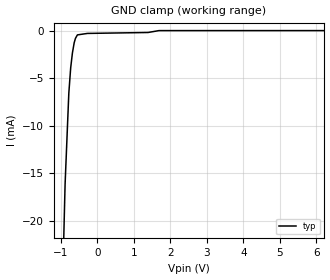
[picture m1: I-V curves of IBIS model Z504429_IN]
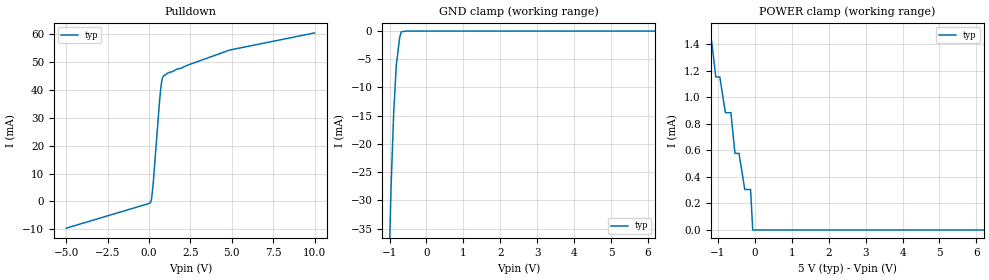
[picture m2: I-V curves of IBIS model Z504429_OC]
| YOU ARE ONLY AUTHORIZED TO USE THIS SOFTWARE
| ACCORDING TO LICENSOR'S LICENSE RESTRICTIONS.
[IBIS Ver] 3.1
[File Name] sn54ls26j.ibs
[File Rev] 2.0
[Source] Measured and created by ICX Technology
[Date] Friday 7/14/00 9:08:14 AM
[Copyright]
| (C) COPYRIGHT 1993-2000
| MENTOR GRAPHICS CORPORATION
| ICX STANDARD LIBRARY, ICX PROJECT MODELING,
| ICX CUSTOM MODELING, ICX VENDOR MODEL
| ALL RIGHTS RESERVED.
| THE FOLLOWING ARE TRADEMARKS OR SERVICE MARKS OF
| MENTOR GRAPHICS CORPORATION:ICX (R), ICX STANDARD
| LIBRARY(R), ICX PROJECT MODELING(R), ICX CUSTOM
| MODELING(R), qualityIBIS(TM), MODELVIEWER(TM),
| AND MODELEDITOR(TM)
| ALL COPIES OF SOFTWARE, INCLUDING BUT NOT LIMITED TO
| ANY MODIFICATIONS, ENHANCEMENTS OR DERIVATIVE WORKS,
| MUST CONTAIN ALL MENTOR GRAPHICS CORPORATION'S
| NOTICES AND LEGENDS, INCLUDING THOSE EMBEDDED IN
| SOFTWARE AND THOSE AFFIXED TO SOFTWARE MEDIUM
| AND CONTAINER, AS RECEIVED FROM MENTOR GRAPHICS
| CORPORATION.
|  ZAP Model Builder 2.7
[Component] SN54LS26J
[Manufacturer] OnSemiconductor
[Package]
| variable   typ   min   max
R_pkg  .21ohms NA NA
L_pkg  4.543nH NA NA
C_pkg  1.8pF NA NA
[Pin] signal_name  model_name  R_pin  L_pin C_pin
1 A Z504429_IN .22 6.757n 2.434p
2 B Z504429_IN .212 4.757n 1.941p
3 Y Z504429_OC .204 3.257n 1.448p
4 A Z504429_IN .196 2.257n .955p
5 B Z504429_IN .204 3.257n 1.448p
6 Y Z504429_OC .212 4.757n 1.941p
7 GND GND .22 6.757n 2.434p
8 Y Z504429_OC .22 6.757n 2.434p
9 A Z504429_IN .212 4.757n 1.941p
10 B Z504429_IN .204 3.257n 1.448p
11 Y Z504429_OC .196 2.257n .955p
12 A Z504429_IN .204 3.257n 1.448p
13 B Z504429_IN .212 4.757n 1.941p
14 VCC POWER .22 6.757n 2.434p
| Models and submodels in the file (2): Z504429_IN (Input), Z504429_OC (Open_sink)
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| (C) COPYRIGHT 1993-2000
| MENTOR GRAPHICS CORPORATION
| ICX STANDARD LIBRARY, ICX PROJECT MODELING,
| ICX CUSTOM MODELING, ICX VENDOR MODEL
| ALL RIGHTS RESERVED.
| THE FOLLOWING ARE TRADEMARKS OR SERVICE MARKS OF
| MENTOR GRAPHICS CORPORATION:ICX (R), ICX STANDARD
| LIBRARY(R), ICX PROJECT MODELING(R), ICX CUSTOM
| MODELING(R), qualityIBIS(TM), MODELVIEWER(TM),
| AND MODELEDITOR(TM)
| ALL COPIES OF SOFTWARE, INCLUDING BUT NOT LIMITED TO
| ANY MODIFICATIONS, ENHANCEMENTS OR DERIVATIVE WORKS,
| MUST CONTAIN ALL MENTOR GRAPHICS CORPORATION'S
| NOTICES AND LEGENDS, INCLUDING THOSE EMBEDDED IN
| SOFTWARE AND THOSE AFFIXED TO SOFTWARE MEDIUM
| AND CONTAINER, AS RECEIVED FROM MENTOR GRAPHICS
| CORPORATION.
| Model Application Version 1.89 2/18/99.
[Model] Z504429_IN
Model_type Input
Vinl = 800.0mV
Vinh = 2.000V
C_comp 4.000pF NA NA
| variable typ   min   max
[Voltage Range] 5.000V NA NA
[GND Clamp Reference] 0.000V NA NA
[POWER Clamp Reference] 5.000V NA NA
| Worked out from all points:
|   GND clamp passes 1 mA (typ) near -0.61 V on its own axis
[GND Clamp]
-5V       -650mA     NA         NA
-883.4mV  -16.15mA   NA         NA
-781.2mV  -6.576mA   NA         NA
-730.2mV  -3.914mA   NA         NA
-682.6mV  -2.354mA   NA         NA
-634.2mV  -1.282mA   NA         NA
-600.6mV  -830.8uA   NA         NA
-546.2mV  -457.2uA   NA         NA
-273.1mV  -302.7uA   NA         NA
1.39V     -204.5uA   NA         NA
1.685V    -6.75uA    NA         NA
10V       -3.987uA   NA         NA
[POWER Clamp]
-5V       0A         NA         NA
10V       0A         NA         NA
| (C) COPYRIGHT 1993-2000
| MENTOR GRAPHICS CORPORATION
| ICX STANDARD LIBRARY, ICX PROJECT MODELING,
| ICX CUSTOM MODELING, ICX VENDOR MODEL
| ALL RIGHTS RESERVED.
| THE FOLLOWING ARE TRADEMARKS OR SERVICE MARKS OF
| MENTOR GRAPHICS CORPORATION:ICX (R), ICX STANDARD
| LIBRARY(R), ICX PROJECT MODELING(R), ICX CUSTOM
| MODELING(R), qualityIBIS(TM), MODELVIEWER(TM),
| AND MODELEDITOR(TM)
| ALL COPIES OF SOFTWARE, INCLUDING BUT NOT LIMITED TO
| ANY MODIFICATIONS, ENHANCEMENTS OR DERIVATIVE WORKS,
| MUST CONTAIN ALL MENTOR GRAPHICS CORPORATION'S
| NOTICES AND LEGENDS, INCLUDING THOSE EMBEDDED IN
| SOFTWARE AND THOSE AFFIXED TO SOFTWARE MEDIUM
| AND CONTAINER, AS RECEIVED FROM MENTOR GRAPHICS
| CORPORATION.
| Model Application Version 1.89 2/18/99.
[Model] Z504429_OC
Model_type Open_sink
Vref=5.000V
Rref=2.001kohms
Cref=15.00pF
Vmeas=1.300V
C_comp 8.000pF NA NA
| variable typ   min   max
[Voltage Range] 5.000V NA NA
[POWER Clamp Reference] 5.000V NA NA
[Pullup Reference] 5.000V NA NA
[Pulldown Reference] 0.000V NA NA
[GND Clamp Reference] 0.000V NA NA
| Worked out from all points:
|   slope of the pulldown table from 0 to 0.75 V, typ, clamps not added: 17.4 ohm
|   GND clamp passes 1 mA (typ) near -0.72 V on its own axis
|   POWER clamp passes 1 mA (typ) near -0.86 V on its own axis
[GND Clamp]
-5V       -1.356A    NA         NA
-1.083V   -58.72mA   NA         NA
-956.8mV  -27.12mA   NA         NA
-888.6mV  -14.5mA    NA         NA
-818.6mV  -6.092mA   NA         NA
-727mV    -1.15mA    NA         NA
-683.6mV  -124.6uA   NA         NA
-546.9mV  0A         NA         NA
10V       0A         NA         NA
[Pulldown]
-5V       -9.63mA    NA         NA
87.89mV   -438.4uA   NA         NA
151.4mV   817.8uA    NA         NA
243mV     5.774mA    NA         NA
645.8mV   36.72mA    NA         NA
723.1mV   41.26mA    NA         NA
781.2mV   43.59mA    NA         NA
818.4mV   44.39mA    NA         NA
894.2mV   45.16mA    NA         NA
1.729V    47.6mA     NA         NA
4.854V    54.32mA    NA         NA
10V       60.51mA    NA         NA
[POWER Clamp]
-5V       4.877mA    NA         NA
-1.169V   1.419mA    NA         NA
-1.059V   1.153mA    NA         NA
-949mV    1.153mA    NA         NA
-799mV    884uA      NA         NA
-649mV    884uA      NA         NA
-539.5mV  577.3uA    NA         NA
-430mV    577.3uA    NA         NA
-273mV    304.9uA    NA         NA
-116mV    304.9uA    NA         NA
-58mV     0A         NA         NA
10V       0A         NA         NA
[Ramp]
| variable typ min max
dV/dt_r 2.756/14.18n NA NA
dV/dt_f 2.756/5.040n NA NA
R_load = 250.0Ohms
